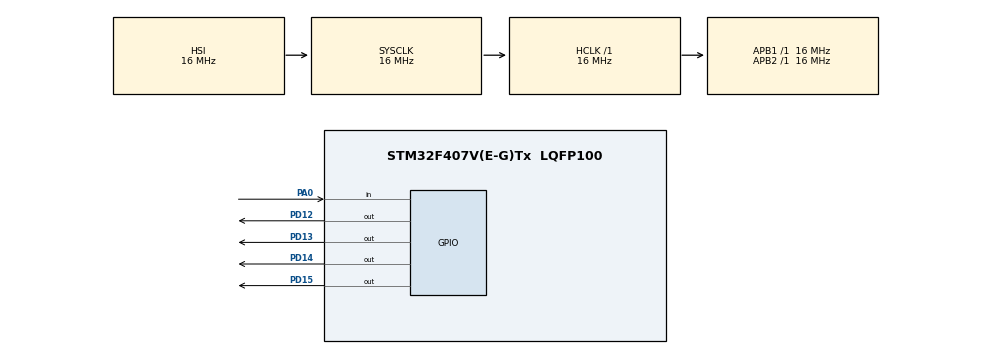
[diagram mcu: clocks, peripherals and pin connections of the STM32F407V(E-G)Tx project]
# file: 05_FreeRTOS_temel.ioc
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FREERTOS.Mutexes01=sayacMutex,Dynamic,NULL
FREERTOS.Queues01=hizKuyruk,1,uint32_t,0,Dynamic,NULL,NULL
FREERTOS.Tasks01=defaultTask,24,128,StartDefaultTask,Default,NULL,Dynamic,NULL,NULL;ledTask2,24,128,StartTask02,Default,NULL,Dynamic,NULL,NULL;ledTask3,24,128,StartTask03,Default,NULL,Dynamic,NULL,NULL;ledTask4,24,128,StartTask04,Default,NULL,Dynamic,NULL,NULL;buttonTask,24,128,StartButtonTask,Default,NULL,Dynamic,NULL,NULL
Mcu.Family=STM32F4
Mcu.Name=STM32F407V(E-G)Tx
Mcu.Package=LQFP100
NVIC.PriorityGroup=NVIC_PRIORITYGROUP_4
NVIC.TIM6_DAC_IRQn=true\:15\:0\:false\:false\:true\:false\:false\:true\:true
NVIC.TimeBase=TIM6_DAC_IRQn
NVIC.TimeBaseIP=TIM6
PA0-WKUP.Signal=GPIO_Input
PD12.Signal=GPIO_Output
PD13.Signal=GPIO_Output
PD14.Signal=GPIO_Output
PD15.Signal=GPIO_Output
ProjectManager.HeapSize=0x200
ProjectManager.StackSize=0x400
ProjectManager.TargetToolchain=STM32CubeIDE
RCC.AHBFreq_Value=16000000
RCC.APB1Freq_Value=16000000
RCC.APB2Freq_Value=16000000
RCC.CortexFreq_Value=16000000
RCC.HSE_VALUE=25000000
RCC.HSI_VALUE=16000000
RCC.LSE_VALUE=32768
RCC.SYSCLKFreq_VALUE=16000000
RCC.VCOOutputFreq_Value=192000000
VP_FREERTOS_VS_CMSIS_V2.Mode=CMSIS_V2
VP_SYS_VS_tim6.Mode=TIM6
board=custom

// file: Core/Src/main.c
/* USER CODE BEGIN Header */
/**
  ******************************************************************************
  * @file           : main.c
  * @brief          : Main program body
  ******************************************************************************
  * @attention
  *
  * Copyright (c) 2026 STMicroelectronics.
  * All rights reserved.
  *
  * This software is licensed under terms that can be found in the LICENSE file
  * in the root directory of this software component.
  * If no LICENSE file comes with this software, it is provided AS-IS.
  *
  ******************************************************************************
  */
/* USER CODE END Header */
#include "main.h"
#include "cmsis_os.h"

/* Definitions for defaultTask */
osThreadId_t defaultTaskHandle;
const osThreadAttr_t defaultTask_attributes = {
  .name = "defaultTask",
  .stack_size = 128 * 4,
  .priority = (osPriority_t) osPriorityNormal,
};
/* Definitions for ledTask2 */
osThreadId_t ledTask2Handle;
const osThreadAttr_t ledTask2_attributes = {
  .name = "ledTask2",
  .stack_size = 128 * 4,
  .priority = (osPriority_t) osPriorityNormal,
};
/* Definitions for ledTask3 */
osThreadId_t ledTask3Handle;
const osThreadAttr_t ledTask3_attributes = {
  .name = "ledTask3",
  .stack_size = 128 * 4,
  .priority = (osPriority_t) osPriorityNormal,
};
/* Definitions for ledTask4 */
osThreadId_t ledTask4Handle;
const osThreadAttr_t ledTask4_attributes = {
  .name = "ledTask4",
  .stack_size = 128 * 4,
  .priority = (osPriority_t) osPriorityNormal,
};
/* Definitions for buttonTask */
osThreadId_t buttonTaskHandle;
const osThreadAttr_t buttonTask_attributes = {
  .name = "buttonTask",
  .stack_size = 128 * 4,
  .priority = (osPriority_t) osPriorityNormal,
};
/* Definitions for hizKuyruk */
osMessageQueueId_t hizKuyrukHandle;
const osMessageQueueAttr_t hizKuyruk_attributes = {
  .name = "hizKuyruk"
};
/* Definitions for sayacMutex */
osMutexId_t sayacMutexHandle;
const osMutexAttr_t sayacMutex_attributes = {
  .name = "sayacMutex"
};
/* USER CODE BEGIN PV */

volatile uint32_t toplamsayac = 0;
volatile uint32_t hiz = 0;

/* USER CODE END PV */

void SystemClock_Config(void);
static void MX_GPIO_Init(void);
void StartDefaultTask(void *argument);
void StartTask02(void *argument);
void StartTask03(void *argument);
void StartTask04(void *argument);
void StartButtonTask(void *argument);

int main(void)
{

  /* MCU Configuration--------------------------------------------------------*/

  /* Reset of all peripherals, Initializes the Flash interface and the Systick. */
  HAL_Init();

  /* Configure the system clock */
  SystemClock_Config();

  /* Initialize all configured peripherals */
  MX_GPIO_Init();

  /* Init scheduler */
  osKernelInitialize();
  /* Create the mutex(es) */
  /* creation of sayacMutex */
  sayacMutexHandle = osMutexNew(&sayacMutex_attributes);

  /* Create the queue(s) */
  /* creation of hizKuyruk */
  hizKuyrukHandle = osMessageQueueNew (1, sizeof(uint32_t), &hizKuyruk_attributes);

  /* Create the thread(s) */
  /* creation of defaultTask */
  defaultTaskHandle = osThreadNew(StartDefaultTask, NULL, &defaultTask_attributes);

  /* creation of ledTask2 */
  ledTask2Handle = osThreadNew(StartTask02, NULL, &ledTask2_attributes);

  /* creation of ledTask3 */
  ledTask3Handle = osThreadNew(StartTask03, NULL, &ledTask3_attributes);

  /* creation of ledTask4 */
  ledTask4Handle = osThreadNew(StartTask04, NULL, &ledTask4_attributes);

  /* creation of buttonTask */
  buttonTaskHandle = osThreadNew(StartButtonTask, NULL, &buttonTask_attributes);

  /* Start scheduler */
  osKernelStart();

  /* We should never get here as control is now taken by the scheduler */

  /* Infinite loop */
  while (1)
  {

  }
}

void SystemClock_Config(void)
{
  RCC_OscInitTypeDef RCC_OscInitStruct = {0};
  RCC_ClkInitTypeDef RCC_ClkInitStruct = {0};

  /** Configure the main internal regulator output voltage
  */
  __HAL_RCC_PWR_CLK_ENABLE();
  __HAL_PWR_VOLTAGESCALING_CONFIG(PWR_REGULATOR_VOLTAGE_SCALE1);

  /** Initializes the RCC Oscillators according to the specified parameters
  * in the RCC_OscInitTypeDef structure.
  */
  RCC_OscInitStruct.OscillatorType = RCC_OSCILLATORTYPE_HSI;
  RCC_OscInitStruct.HSIState = RCC_HSI_ON;
  RCC_OscInitStruct.HSICalibrationValue = RCC_HSICALIBRATION_DEFAULT;
  RCC_OscInitStruct.PLL.PLLState = RCC_PLL_NONE;
  if (HAL_RCC_OscConfig(&RCC_OscInitStruct) != HAL_OK)
  {
    Error_Handler();
  }

  /** Initializes the CPU, AHB and APB buses clocks
  */
  RCC_ClkInitStruct.ClockType = RCC_CLOCKTYPE_HCLK|RCC_CLOCKTYPE_SYSCLK
                              |RCC_CLOCKTYPE_PCLK1|RCC_CLOCKTYPE_PCLK2;
  RCC_ClkInitStruct.SYSCLKSource = RCC_SYSCLKSOURCE_HSI;
  RCC_ClkInitStruct.AHBCLKDivider = RCC_SYSCLK_DIV1;
  RCC_ClkInitStruct.APB1CLKDivider = RCC_HCLK_DIV1;
  RCC_ClkInitStruct.APB2CLKDivider = RCC_HCLK_DIV1;

  if (HAL_RCC_ClockConfig(&RCC_ClkInitStruct, FLASH_LATENCY_0) != HAL_OK)
  {
    Error_Handler();
  }
}

static void MX_GPIO_Init(void)
{
  GPIO_InitTypeDef GPIO_InitStruct = {0};

  /* GPIO Ports Clock Enable */
  __HAL_RCC_GPIOA_CLK_ENABLE();
  __HAL_RCC_GPIOD_CLK_ENABLE();

  /*Configure GPIO pin Output Level */
  HAL_GPIO_WritePin(GPIOD, GPIO_PIN_12|GPIO_PIN_13|GPIO_PIN_14|GPIO_PIN_15, GPIO_PIN_RESET);

  /*Configure GPIO pin : PA0 */
  GPIO_InitStruct.Pin = GPIO_PIN_0;
  GPIO_InitStruct.Mode = GPIO_MODE_INPUT;
  GPIO_InitStruct.Pull = GPIO_NOPULL;
  HAL_GPIO_Init(GPIOA, &GPIO_InitStruct);

  /*Configure GPIO pins : PD12 PD13 PD14 PD15 */
  GPIO_InitStruct.Pin = GPIO_PIN_12|GPIO_PIN_13|GPIO_PIN_14|GPIO_PIN_15;
  GPIO_InitStruct.Mode = GPIO_MODE_OUTPUT_PP;
  GPIO_InitStruct.Pull = GPIO_NOPULL;
  GPIO_InitStruct.Speed = GPIO_SPEED_FREQ_LOW;
  HAL_GPIO_Init(GPIOD, &GPIO_InitStruct);

}

void StartDefaultTask(void *argument)
{
  /* USER CODE BEGIN 5 */
  hiz = 500;
  /* Infinite loop */
  for(;;)
  {
	uint32_t yeniHiz;
	 if (osMessageQueueGet(hizKuyrukHandle, &yeniHiz, NULL, 0) == osOK)
	        hiz = yeniHiz;
	    HAL_GPIO_TogglePin(GPIOD, GPIO_PIN_12);
	    osDelay(hiz);
  }
  /* USER CODE END 5 */
}

void StartTask02(void *argument)
{
  /* USER CODE BEGIN StartTask02 */
  /* Infinite loop */
  for(;;)
  {
	HAL_GPIO_TogglePin(GPIOD, GPIO_PIN_14);
	osMutexAcquire(sayacMutexHandle, osWaitForever);
	toplamsayac++;
	osMutexRelease(sayacMutexHandle);
    osDelay(150);
  }
  /* USER CODE END StartTask02 */
}

void StartTask03(void *argument)
{
  /* USER CODE BEGIN StartTask03 */
  /* Infinite loop */
  for(;;)
  {
	HAL_GPIO_TogglePin(GPIOD, GPIO_PIN_13);
	osMutexAcquire(sayacMutexHandle, osWaitForever);
	toplamsayac++;
	osMutexRelease(sayacMutexHandle);
    osDelay(250);
  }
  /* USER CODE END StartTask03 */
}

void StartTask04(void *argument)
{
  /* USER CODE BEGIN StartTask04 */
  /* Infinite loop */
  for(;;)
  {
	HAL_GPIO_TogglePin(GPIOD, GPIO_PIN_15);
	osMutexAcquire(sayacMutexHandle, osWaitForever);
	toplamsayac++;
	osMutexRelease(sayacMutexHandle);
    osDelay(700);
  }
  /* USER CODE END StartTask04 */
}

void StartButtonTask(void *argument)
{
  /* USER CODE BEGIN StartButtonTask */
	uint32_t hizlar[3] = {800, 300, 100};
	uint8_t index = 0;
	GPIO_PinState onceki = GPIO_PIN_RESET;

  /* Infinite loop */
  for(;;)
  {
	GPIO_PinState simdiki = HAL_GPIO_ReadPin(GPIOA, GPIO_PIN_0);
	if(simdiki == GPIO_PIN_SET && onceki == GPIO_PIN_RESET){
		index++;
		if(index > 2)
			index = 0;
		osMessageQueuePut(hizKuyrukHandle, &hizlar[index], 0, 0);
	}
	onceki = simdiki;
    osDelay(20);
  }
  /* USER CODE END StartButtonTask */
}

void HAL_TIM_PeriodElapsedCallback(TIM_HandleTypeDef *htim)
{
  if (htim->Instance == TIM6) {
    HAL_IncTick();
  }
}

void Error_Handler(void)
{
  __disable_irq();
  while (1)
  {
  }
}
